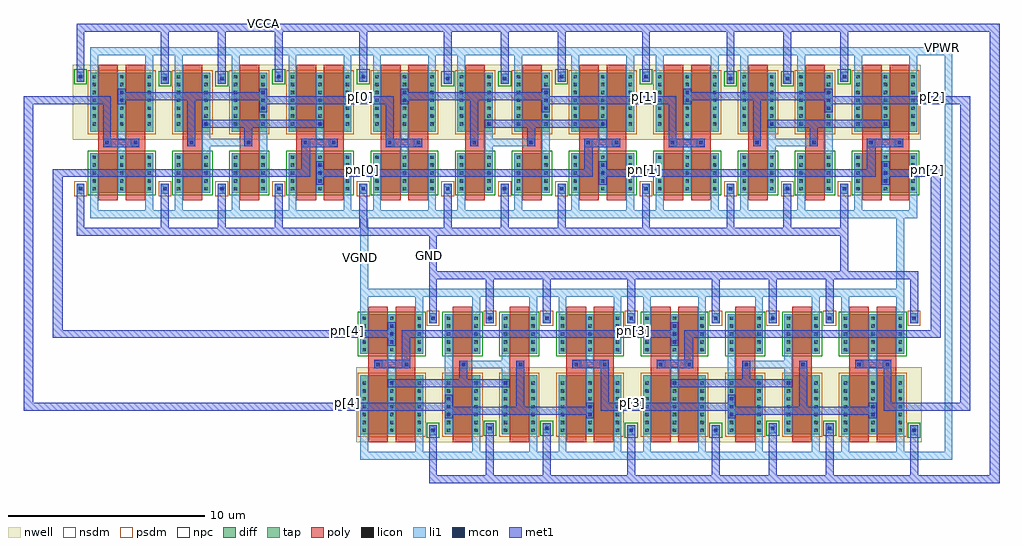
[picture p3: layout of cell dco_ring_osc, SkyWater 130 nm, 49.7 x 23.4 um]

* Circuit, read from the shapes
.subckt dco_ring_osc GND VCCA VGND VPWR p[0] p[1] p[2] p[3] p[4] pn[0] pn[1] pn[2] pn[3] pn[4]
XM1 p[0] p[4] VGND GND sky130_fd_pr__nfet_01v8 w=2 l=1 m=2
XM2 pn[0] p[0] VGND GND sky130_fd_pr__nfet_01v8 w=2 l=1
XM3 p[0] pn[0] VGND GND sky130_fd_pr__nfet_01v8 w=2 l=1
XM4 pn[0] pn[4] VGND GND sky130_fd_pr__nfet_01v8 w=2 l=1 m=2
XM5 pn[4] pn[3] VGND GND sky130_fd_pr__nfet_01v8 w=2 l=1 m=2
XM6 p[1] p[0] VGND GND sky130_fd_pr__nfet_01v8 w=2 l=1 m=2
XM7 VGND pn[4] p[4] GND sky130_fd_pr__nfet_01v8 w=2 l=1
XM8 pn[1] p[1] VGND GND sky130_fd_pr__nfet_01v8 w=2 l=1
XM9 VGND p[4] pn[4] GND sky130_fd_pr__nfet_01v8 w=2 l=1
XM10 p[1] pn[1] VGND GND sky130_fd_pr__nfet_01v8 w=2 l=1
XM11 p[4] p[3] VGND GND sky130_fd_pr__nfet_01v8 w=2 l=1 m=2
XM12 pn[1] pn[0] VGND GND sky130_fd_pr__nfet_01v8 w=2 l=1 m=2
XM13 pn[3] pn[2] VGND GND sky130_fd_pr__nfet_01v8 w=2 l=1 m=2
XM14 p[2] p[1] VGND GND sky130_fd_pr__nfet_01v8 w=2 l=1 m=2
XM15 VGND pn[3] p[3] GND sky130_fd_pr__nfet_01v8 w=2 l=1
XM16 pn[2] p[2] VGND GND sky130_fd_pr__nfet_01v8 w=2 l=1
XM17 VGND p[3] pn[3] GND sky130_fd_pr__nfet_01v8 w=2 l=1
XM18 p[2] pn[2] VGND GND sky130_fd_pr__nfet_01v8 w=2 l=1
XM19 p[3] p[2] VGND GND sky130_fd_pr__nfet_01v8 w=2 l=1 m=2
XM20 pn[2] pn[1] VGND GND sky130_fd_pr__nfet_01v8 w=2 l=1 m=2
XM21 p[0] p[4] VPWR VCCA sky130_fd_pr__pfet_01v8 w=3 l=1 m=2
XM22 pn[0] p[0] VPWR VCCA sky130_fd_pr__pfet_01v8 w=3 l=1
XM23 p[0] pn[0] VPWR VCCA sky130_fd_pr__pfet_01v8 w=3 l=1
XM24 pn[0] pn[4] VPWR VCCA sky130_fd_pr__pfet_01v8 w=3 l=1 m=2
XM25 pn[4] pn[3] VPWR VCCA sky130_fd_pr__pfet_01v8 w=3 l=1 m=2
XM26 p[1] p[0] VPWR VCCA sky130_fd_pr__pfet_01v8 w=3 l=1 m=2
XM27 VPWR pn[4] p[4] VCCA sky130_fd_pr__pfet_01v8 w=3 l=1
XM28 pn[1] p[1] VPWR VCCA sky130_fd_pr__pfet_01v8 w=3 l=1
XM29 VPWR p[4] pn[4] VCCA sky130_fd_pr__pfet_01v8 w=3 l=1
XM30 p[1] pn[1] VPWR VCCA sky130_fd_pr__pfet_01v8 w=3 l=1
XM31 p[4] p[3] VPWR VCCA sky130_fd_pr__pfet_01v8 w=3 l=1 m=2
XM32 pn[1] pn[0] VPWR VCCA sky130_fd_pr__pfet_01v8 w=3 l=1 m=2
XM33 pn[3] pn[2] VPWR VCCA sky130_fd_pr__pfet_01v8 w=3 l=1 m=2
XM34 p[2] p[1] VPWR VCCA sky130_fd_pr__pfet_01v8 w=3 l=1 m=2
XM35 VPWR pn[3] p[3] VCCA sky130_fd_pr__pfet_01v8 w=3 l=1
XM36 pn[2] p[2] VPWR VCCA sky130_fd_pr__pfet_01v8 w=3 l=1
XM37 VPWR p[3] pn[3] VCCA sky130_fd_pr__pfet_01v8 w=3 l=1
XM38 p[2] pn[2] VPWR VCCA sky130_fd_pr__pfet_01v8 w=3 l=1
XM39 p[3] p[2] VPWR VCCA sky130_fd_pr__pfet_01v8 w=3 l=1 m=2
XM40 pn[2] pn[1] VPWR VCCA sky130_fd_pr__pfet_01v8 w=3 l=1 m=2
.ends

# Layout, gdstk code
from math import pi, radians
import gdstk
lib = gdstk.Library(unit=1e-6, precision=1e-09)
def R(c, l, rs):  # rectangles x0, y0, x1, y1
    for r in rs: c.add(gdstk.rectangle(r[:2], r[2:], *l))
def A(c, l, x, y, w, h, nx, ny, dx, dy):  # array of equal rectangles
    R(c, l, [(x+i*dx, y+j*dy, x+i*dx+w, y+j*dy+h) for i in range(nx) for j in range(ny)])
nwell = (64, 20)
diff = (65, 20)
tap = (65, 44)
poly = (66, 20)
licon = (66, 44)
li1 = (67, 20)
mcon = (67, 44)
met1 = (68, 20)
nsdm = (93, 44)
psdm = (94, 20)
npc = (95, 20)

dco_main_inv = lib.new_cell('dco_main_inv')
R(dco_main_inv, nwell, [(-1.3,-0.4,3,3.4)])
R(dco_main_inv, diff, [(-0.4,-3.1,2.8,-1.1), (-0.4,0,2.8,3)])
R(dco_main_inv, tap, [(-1.1,-3.15,-0.7,-2.65), (-1.1,2.55,-0.7,3.05)])
R(dco_main_inv, poly, [(0,-3.5,1,-0.7), (1.4,-3.5,2.4,-0.7), (0,-0.7,2.4,-0.4), (0,-0.4,1,3.4), (1.4,-0.4,2.4,3.4)])
A(dco_main_inv, licon, -0.285, -2.985, 0.17, 0.17, 3, 5, 1.4, 0.4)
A(dco_main_inv, licon, -0.285, 0.315, 0.17, 0.17, 3, 7, 1.4, 0.4)
R(dco_main_inv, licon, [(-0.985,-2.985,-0.815,-2.815), (0.365,-0.635,0.535,-0.465), (1.815,-0.635,1.985,-0.465), (-0.985,2.715,-0.815,2.885)])
R(dco_main_inv, li1, [(-0.4,-4.4,2.8,-4), (-0.4,-4,0,-1.1), (2.4,-4,2.8,-1.1), (-1.1,-3.15,-0.7,-2.65), (1,-3.1,1.4,3), (0.25,-0.8,0.7,-0.35), (1.65,-0.8,2.1,-0.35), (-0.4,0,0,3.9), (2.4,0,2.8,3.9), (-1.1,2.55,-0.7,3.05), (-0.4,3.9,2.8,4.3)])
R(dco_main_inv, mcon, [(-0.985,-2.985,-0.815,-2.815), (0.365,-0.635,0.535,-0.465), (1.815,-0.635,1.985,-0.465), (-0.985,2.715,-0.815,2.885)])
R(dco_main_inv, met1, [(-1.1,-3.15,-0.7,-2.65), (0.25,-0.8,2.1,-0.35), (-1.1,2.55,-0.7,3.05)])
R(dco_main_inv, nsdm, [(-0.525,-3.225,2.925,-0.975), (-1.225,2.425,-0.575,3.175)])
R(dco_main_inv, psdm, [(-1.225,-3.275,-0.575,-2.525), (-0.525,-0.125,2.925,3.125)])
R(dco_main_inv, npc, [(0.265,-0.735,0.635,-0.365), (1.715,-0.735,2.085,-0.365)])
dco_main_inv.add(gdstk.Label('VPWR', (1.2,4.3), layer=67, texttype=5))
dco_main_inv.add(gdstk.Label('VCCA', (-0.9,3.05), layer=68, texttype=5))
dco_main_inv.add(gdstk.Label('Y', (1.2,3), layer=67, texttype=5))
dco_main_inv.add(gdstk.Label('GND', (-0.9,-2.65), layer=68, texttype=5))
dco_main_inv.add(gdstk.Label('VGND', (1.2,-4), layer=67, texttype=5))
dco_main_inv.add(gdstk.Label('A', (0.25,-0.55), layer=68, texttype=5))

dco_aux_inv = lib.new_cell('dco_aux_inv')
R(dco_aux_inv, nwell, [(-1.3,-0.4,1.6,3.4)])
R(dco_aux_inv, diff, [(-0.4,-3.1,1.4,-1.1), (-0.4,0,1.4,3)])
R(dco_aux_inv, tap, [(-1.1,-3.15,-0.7,-2.65), (-1.1,2.45,-0.7,2.95)])
R(dco_aux_inv, poly, [(0,-3.5,1,3.4)])
A(dco_aux_inv, licon, -0.285, -2.985, 0.17, 0.17, 1, 5, 0, 0.4)
A(dco_aux_inv, licon, 1.115, -2.985, 0.17, 0.17, 1, 5, 0, 0.4)
A(dco_aux_inv, licon, -0.285, 0.315, 0.17, 0.17, 1, 7, 0, 0.4)
A(dco_aux_inv, licon, 1.115, 0.315, 0.17, 0.17, 1, 7, 0, 0.4)
R(dco_aux_inv, licon, [(-0.985,-2.985,-0.815,-2.815), (-0.985,2.615,-0.815,2.785)])
R(dco_aux_inv, li1, [(-1.1,-3.15,-0.7,-2.65), (-0.4,-3.1,0,-1.1), (1,-3.1,1.4,3), (-0.4,0,0,3), (-1.1,2.45,-0.7,2.95)])
R(dco_aux_inv, mcon, [(-0.985,-2.985,-0.815,-2.815), (-0.985,2.615,-0.815,2.785)])
R(dco_aux_inv, met1, [(-1.1,-3.15,-0.7,-2.65), (-1.1,2.45,-0.7,2.95)])
R(dco_aux_inv, nsdm, [(-0.525,-3.225,1.525,-0.975), (-1.225,2.325,-0.575,3.075)])
R(dco_aux_inv, psdm, [(-1.225,-3.275,-0.575,-2.525), (-0.525,-0.125,1.525,3.125)])
dco_aux_inv.add(gdstk.Label('VPWR', (-0.2,3), layer=67, texttype=5))
dco_aux_inv.add(gdstk.Label('VCCA', (-0.9,2.95), layer=68, texttype=5))
dco_aux_inv.add(gdstk.Label('A', (0,-0.55), layer=66, texttype=5))
dco_aux_inv.add(gdstk.Label('Y', (1.4,-0.55), layer=67, texttype=5))
dco_aux_inv.add(gdstk.Label('GND', (-0.9,-2.65), layer=68, texttype=5))
dco_aux_inv.add(gdstk.Label('VGND', (-0.2,-3.1), layer=67, texttype=5))

dco_cc_inv = lib.new_cell('dco_cc_inv')
R(dco_cc_inv, nwell, [(9.6,5.9,9.8,6.1), (9.6,6.3,9.8,6.5)])
R(dco_cc_inv, diff, [(12.5,2.2,12.7,2.4), (12.5,2.6,12.7,2.8), (9.6,5.9,9.8,6.1), (9.6,6.3,9.8,6.5)])
R(dco_cc_inv, poly, [(5.95,3.75,6.15,3.95), (8.85,3.75,9.05,3.95)])
R(dco_cc_inv, licon, [(12.515,2.215,12.685,2.385), (12.515,2.615,12.685,2.785), (5.965,3.765,6.135,3.935), (8.865,3.765,9.035,3.935), (9.615,5.915,9.785,6.085), (9.615,6.315,9.785,6.485)])
A(dco_cc_inv, li1, 12.5, 1.8, 0.2, 0.2, 1, 3, 0, 0.4)
A(dco_cc_inv, li1, 9.6, 5.5, 0.2, 0.2, 1, 3, 0, 0.4)
R(dco_cc_inv, li1, [(3,0,11.1,0.4), (5.2,0.4,5.6,1.3), (8.1,0.4,8.5,1.3), (5.85,3.65,6.25,4.05), (7,3.65,9.15,4.05), (6.7,4.7,6.9,4.9), (12.5,4.7,12.7,4.9), (2.4,5.9,2.6,6.1), (2.4,6.3,2.6,6.5), (5.2,7.4,5.6,8.3), (8.1,7.4,8.5,8.3), (3.35,8.3,11.55,8.7)])
A(dco_cc_inv, mcon, 12.515, 1.815, 0.17, 0.17, 1, 3, 0, 0.4)
A(dco_cc_inv, mcon, 9.615, 5.515, 0.17, 0.17, 1, 3, 0, 0.4)
R(dco_cc_inv, mcon, [(5.965,3.765,6.135,3.935), (8.865,3.765,9.035,3.935), (6.715,4.715,6.885,4.885), (12.515,4.715,12.685,4.885), (2.415,5.915,2.585,6.085), (2.415,6.315,2.585,6.485)])
A(dco_cc_inv, met1, 4.5, -0.5, 0.4, 1.75, 3, 1, 2.9, 0)
R(dco_cc_inv, met1, [(0.2,-0.9,10.7,-0.5), (0.2,-0.5,0.6,1.25), (12.4,1.7,12.8,2.1), (0,2.1,12.1,2.5), (12.4,2.1,14.4,2.5), (11.65,2.5,12.1,3.6), (12.4,2.5,12.8,2.9), (5.85,3.65,6.25,6), (8.75,3.65,9.15,4.6), (1.55,4.05,1.95,5.8), (6.6,4.6,12.8,5), (9.5,5.4,9.9,5.8), (0,5.8,1.95,6.2), (2.3,5.8,2.7,6), (9.5,5.8,14.4,6), (2.3,6,14.4,6.2), (2.3,6.2,9.9,6.4), (2.3,6.4,2.7,6.6), (9.5,6.4,9.9,6.6), (4.5,7.35,4.9,9.5), (7.4,7.35,7.8,9.5), (0.2,7.45,0.6,9.5), (10.3,7.45,10.7,9.5), (0.2,9.5,10.7,9.9)])
R(dco_cc_inv, nsdm, [(12.375,2.075,12.825,2.925)])
R(dco_cc_inv, psdm, [(9.475,5.775,9.925,6.625)])
R(dco_cc_inv, npc, [(5.865,3.665,6.235,4.035), (8.765,3.665,9.135,4.035)])
dco_cc_inv.add(gdstk.Reference(dco_main_inv, (11.4,4.4)))
dco_cc_inv.add(gdstk.Reference(dco_main_inv, (1.3,4.4)))
dco_cc_inv.add(gdstk.Reference(dco_aux_inv, (8.5,4.4)))
dco_cc_inv.add(gdstk.Reference(dco_aux_inv, (5.6,4.4)))
dco_cc_inv.add(gdstk.Label('VCCA', (0.3,9.9), layer=68, texttype=5))
dco_cc_inv.add(gdstk.Label('VPWR', (6.45,8.7), layer=67, texttype=5))
dco_cc_inv.add(gdstk.Label('outp', (14.4,6), layer=68, texttype=5))
dco_cc_inv.add(gdstk.Label('inp', (0,6), layer=68, texttype=5))
dco_cc_inv.add(gdstk.Label('inn', (0,2.3), layer=68, texttype=5))
dco_cc_inv.add(gdstk.Label('outn', (14.4,2.3), layer=68, texttype=5))
dco_cc_inv.add(gdstk.Label('GND', (0.65,-0.9), layer=68, texttype=5))
dco_cc_inv.add(gdstk.Label('VGND', (6.55,0), layer=67, texttype=5))

dco_ring_osc = lib.new_cell('dco_ring_osc')
R(dco_ring_osc, li1, [(27.35,-11.4,29.65,-11), (41.75,-11.4,44.8,-11), (44.4,-11,44.8,9.2), (14.65,-3.3,15.05,0.9), (41.95,-3.15,42.35,1.15), (27.5,-3.1,29.65,-2.7), (13.2,0.9,15.85,1.3), (28.1,0.9,30.05,1.3), (13.6,9.2,15.45,9.6), (28.05,9.2,30.95,9.6), (42.1,9.2,44.8,9.6)])
R(dco_ring_osc, met1, [(28.15,-12.6,33.1,-12.2), (42.5,-12.6,47.2,-12.2), (46.7,-12.2,47.2,10.4), (-2.5,-8.9,14.45,-8.5), (27.95,-8.9,29.05,-8.5), (43.15,-8.9,45.7,-8.5), (-2.5,-8.5,-2,6.7), (45.2,-8.5,45.7,6.7), (-1,-5.2,14.45,-4.8), (27.95,-5.2,29.05,-4.8), (43.2,-5.2,44.2,-4.8), (-1,-4.8,-0.5,3), (43.7,-4.8,44.2,3), (18.15,-2.35,18.55,0.3), (28.15,-2.2,33.9,-1.8), (39.1,-2.2,39.5,0.4), (10.25,0,15.05,0.4), (24.7,0,30.05,0.4), (-1,3,0,3.4), (14.2,3,15.3,3.4), (28.6,3,29.7,3.4), (43.15,3,44.2,3.4), (-2.5,6.7,0,7.1), (14.2,6.7,15.3,7.1), (28.6,6.7,29.7,7.1), (43.2,6.7,45.7,7.1), (9.15,10.4,14.8,10.8), (23.45,10.4,29.35,10.8), (38.5,10.4,47.2,10.8)])
dco_ring_osc.add(gdstk.Reference(dco_cc_inv, (43.25,-2.7), rotation=pi))
dco_ring_osc.add(gdstk.Reference(dco_cc_inv, (28.85,-2.7), rotation=pi))
dco_ring_osc.add(gdstk.Reference(dco_cc_inv, (28.8,0.9)))
dco_ring_osc.add(gdstk.Reference(dco_cc_inv, (14.4,0.9)))
dco_ring_osc.add(gdstk.Reference(dco_cc_inv, (0,0.9)))
dco_ring_osc.add(gdstk.Label('VCCA', (9.7,10.8), layer=68, texttype=5))
dco_ring_osc.add(gdstk.Label('GND', (18.15,-1), layer=68, texttype=5))
dco_ring_osc.add(gdstk.Label('VGND', (14.65,-1.1), layer=67, texttype=5))
dco_ring_osc.add(gdstk.Label('VPWR', (44.3,9.6), layer=67, texttype=5))
dco_ring_osc.add(gdstk.Label('p[0]', (14.65,7.1), layer=68, texttype=5))
dco_ring_osc.add(gdstk.Label('p[1]', (29.1,7.1), layer=68, texttype=5))
dco_ring_osc.add(gdstk.Label('p[2]', (43.8,7.1), layer=68, texttype=5))
dco_ring_osc.add(gdstk.Label('p[3]', (28.5,-8.5), layer=68, texttype=5))
dco_ring_osc.add(gdstk.Label('p[4]', (14,-8.5), layer=68, texttype=5))
dco_ring_osc.add(gdstk.Label('pn[0]', (14.75,3.4), layer=68, texttype=5))
dco_ring_osc.add(gdstk.Label('pn[1]', (29.1,3.4), layer=68, texttype=5))
dco_ring_osc.add(gdstk.Label('pn[2]', (43.55,3.4), layer=68, texttype=5))
dco_ring_osc.add(gdstk.Label('pn[3]', (28.55,-4.8), layer=68, texttype=5))
dco_ring_osc.add(gdstk.Label('pn[4]', (14,-4.8), layer=68, texttype=5))

lib.write_gds('dco_ring_osc.gds')
